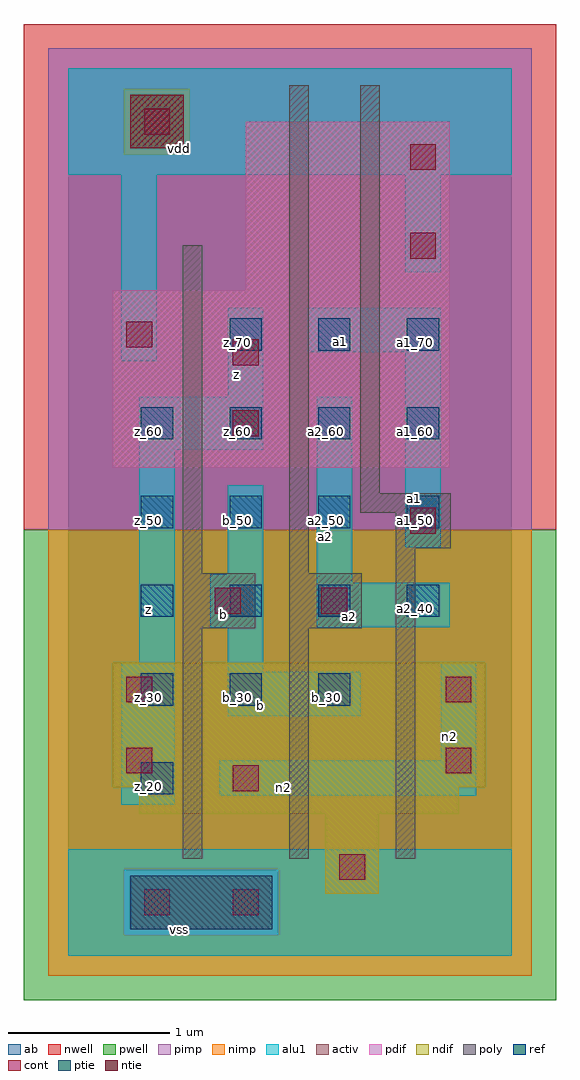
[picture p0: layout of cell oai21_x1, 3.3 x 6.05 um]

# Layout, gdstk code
import gdstk
lib = gdstk.Library(unit=1e-6, precision=2.5e-09)
def R(c, l, rs):  # rectangles x0, y0, x1, y1
    for r in rs: c.add(gdstk.rectangle(r[:2], r[2:], *l))
def A(c, l, x, y, w, h, nx, ny, dx, dy):  # array of equal rectangles
    R(c, l, [(x+i*dx, y+j*dy, x+i*dx+w, y+j*dy+h) for i in range(nx) for j in range(ny)])
ndif = (3, 0)
pdif = (4, 0)
ntie = (5, 0)
ptie = (6, 0)
ref = (24, 0)
cont = (25, 0)
pwell = (41, 0)
nwell = (42, 0)
activ = (43, 0)
pimp = (44, 0)
nimp = (45, 0)
poly = (46, 0)
alu1 = (49, 0)
ab = (63, 0)

oai21_x1 = lib.new_cell('oai21_x1')
R(oai21_x1, ndif, [(1.595,0.385,1.925,0.88), (0.44,0.88,2.42,1.045), (0.275,1.045,2.585,1.815)])
R(oai21_x1, pdif, [(0.275,3.025,2.365,4.125), (1.1,4.125,2.365,5.17)])
R(oai21_x1, ntie, [(0.385,5.005,0.715,5.335)])
R(oai21_x1, ptie, [(0.385,0.165,1.265,0.495)])
A(oai21_x1, ref, 0.45, 1.55, 0.2, 0.2, 3, 1, 0.55, 0)
A(oai21_x1, ref, 0.45, 2.1, 0.2, 0.2, 4, 3, 0.55, 0.55)
A(oai21_x1, ref, 1, 3.75, 0.2, 0.2, 3, 1, 0.55, 0)
R(oai21_x1, ref, [(0.45,1,0.65,1.2)])
R(oai21_x1, cont, [(0.47,0.25,0.63,0.41), (1.02,0.25,1.18,0.41), (1.68,0.47,1.84,0.63), (1.02,1.02,1.18,1.18), (0.36,1.13,0.52,1.29), (2.34,1.13,2.5,1.29), (0.36,1.57,0.52,1.73), (2.34,1.57,2.5,1.73), (0.91,2.12,1.07,2.28), (1.57,2.12,1.73,2.28), (2.12,2.615,2.28,2.775), (1.02,3.22,1.18,3.38), (1.02,3.66,1.18,3.82), (0.36,3.77,0.52,3.93), (2.12,4.32,2.28,4.48), (2.12,4.87,2.28,5.03), (0.47,5.09,0.63,5.25)])
R(oai21_x1, pwell, [(-0.275,-0.275,3.025,2.64)])
R(oai21_x1, nwell, [(-0.275,2.64,3.025,5.775)])
R(oai21_x1, activ, [(0.385,0.165,1.265,0.495), (1.595,0.385,1.925,0.88), (0.44,0.88,2.42,1.045), (0.275,1.045,2.585,1.815), (0.275,3.025,2.365,4.125), (1.1,4.125,2.365,5.17), (0.385,5.005,0.715,5.335)])
R(oai21_x1, pimp, [(0.345,0.125,1.305,0.535), (-0.125,2.64,2.875,4.965), (-0.125,4.965,0.345,5.375), (0.755,4.965,2.875,5.375), (-0.125,5.375,2.875,5.625)])
R(oai21_x1, nimp, [(-0.125,-0.125,2.875,0.125), (-0.125,0.125,0.345,0.535), (1.305,0.125,2.875,0.535), (-0.125,0.535,2.875,2.64), (0.345,4.965,0.755,5.375)])
R(oai21_x1, poly, [(0.71,0.6,0.83,2.03), (1.37,0.6,1.49,2.03), (2.03,0.6,2.15,2.525), (0.71,2.03,1.16,2.37), (1.37,2.03,1.82,2.37), (0.71,2.37,0.83,4.405), (1.37,2.37,1.49,5.395), (2.03,2.525,2.37,2.745), (1.81,2.745,2.37,2.865), (1.81,2.865,1.93,5.395)])
R(oai21_x1, alu1, [(0,0,2.75,0.66), (0.33,0.935,0.66,1.815), (0.935,0.99,2.53,1.21), (2.31,1.21,2.53,1.815), (0.99,1.485,1.815,1.76), (0.99,1.76,1.21,2.035), (0.44,1.815,0.66,3.135), (0.88,2.035,1.21,2.365), (1.54,2.035,2.365,2.31), (1.54,2.31,1.76,3.465), (0.99,2.365,1.21,2.915), (2.09,2.53,2.31,3.74), (0.44,3.135,1.21,3.465), (0.99,3.465,1.21,4.015), (0.33,3.685,0.55,4.84), (1.485,3.74,2.31,4.015), (2.09,4.235,2.31,4.84), (0,4.84,2.75,5.5)])
R(oai21_x1, ab, [(0,0,2.75,5.5)])
oai21_x1.add(gdstk.Label('vss', (0.6875,0.165), layer=49, texttype=0))
oai21_x1.add(gdstk.Label('n2', (1.3325,1.045), layer=49, texttype=0))
oai21_x1.add(gdstk.Label('n2', (2.365,1.36), layer=49, texttype=0))
oai21_x1.add(gdstk.Label('b', (1.195,1.5525), layer=49, texttype=0))
oai21_x1.add(gdstk.Label('a2', (1.745,2.1025), layer=49, texttype=0))
oai21_x1.add(gdstk.Label('a1', (2.145,2.8325), layer=49, texttype=0))
oai21_x1.add(gdstk.Label('a2', (1.595,2.5975), layer=49, texttype=0))
oai21_x1.add(gdstk.Label('b', (0.9625,2.1175), layer=49, texttype=0))
oai21_x1.add(gdstk.Label('z', (0.495,2.145), layer=49, texttype=0))
oai21_x1.add(gdstk.Label('a1', (1.69,3.8075), layer=49, texttype=0))
oai21_x1.add(gdstk.Label('z', (1.045,3.6025), layer=49, texttype=0))
oai21_x1.add(gdstk.Label('vdd', (0.6875,5.005), layer=49, texttype=0))
oai21_x1.add(gdstk.Label('z_60', (0.5,3.25), layer=24, texttype=0))
oai21_x1.add(gdstk.Label('z_50', (0.5,2.7), layer=24, texttype=0))
oai21_x1.add(gdstk.Label('z_40', (0.5,2.15), layer=24, texttype=0))
oai21_x1.add(gdstk.Label('b_50', (1.05,2.7), layer=24, texttype=0))
oai21_x1.add(gdstk.Label('z_30', (0.5,1.6), layer=24, texttype=0))
oai21_x1.add(gdstk.Label('a2_50', (1.6,2.7), layer=24, texttype=0))
oai21_x1.add(gdstk.Label('a1_50', (2.15,2.7), layer=24, texttype=0))
oai21_x1.add(gdstk.Label('a2_60', (1.6,3.25), layer=24, texttype=0))
oai21_x1.add(gdstk.Label('b_40', (1.05,2.15), layer=24, texttype=0))
oai21_x1.add(gdstk.Label('b_30', (1.6,1.6), layer=24, texttype=0))
oai21_x1.add(gdstk.Label('b_30', (1.05,1.6), layer=24, texttype=0))
oai21_x1.add(gdstk.Label('z_70', (1.05,3.8), layer=24, texttype=0))
oai21_x1.add(gdstk.Label('z_60', (1.05,3.25), layer=24, texttype=0))
oai21_x1.add(gdstk.Label('a1_70', (1.6,3.8), layer=24, texttype=0))
oai21_x1.add(gdstk.Label('a1_70', (2.15,3.8), layer=24, texttype=0))
oai21_x1.add(gdstk.Label('a1_60', (2.15,3.25), layer=24, texttype=0))
oai21_x1.add(gdstk.Label('a2_40', (1.6,2.15), layer=24, texttype=0))
oai21_x1.add(gdstk.Label('a2_40', (2.15,2.15), layer=24, texttype=0))
oai21_x1.add(gdstk.Label('z_20', (0.5,1.05), layer=24, texttype=0))

lib.write_gds('oai21_x1.gds')
